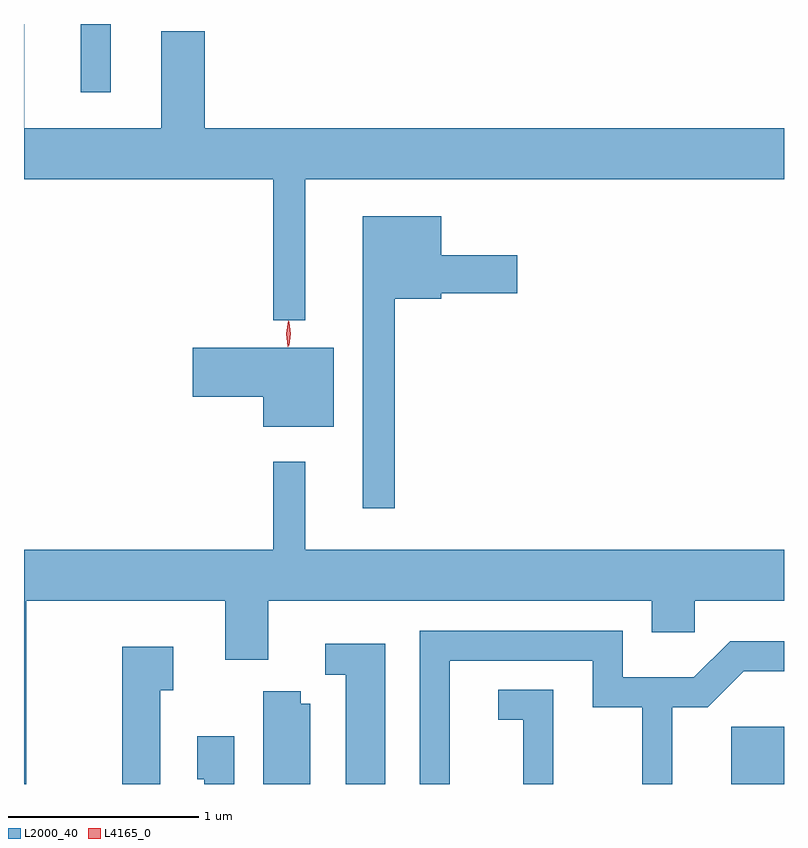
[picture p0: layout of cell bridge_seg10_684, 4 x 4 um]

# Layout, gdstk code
import gdstk
lib = gdstk.Library(unit=1e-6, precision=1e-09)
def R(c, l, rs):  # rectangles x0, y0, x1, y1
    for r in rs: c.add(gdstk.rectangle(r[:2], r[2:], *l))
def P(c, l, *ps):  # polygons
    for p in ps: c.add(gdstk.Polygon(p, *l))
L2000_40 = (2000, 40)
L4165_0 = (4165, 0)

bridge_seg10_684 = lib.new_cell('bridge_seg10_684')
R(bridge_seg10_684, L2000_40, [(1011.041,2124.052,1011.318,2124.354), (1007.616,2127.693,1007.774,2128.052)])
P(bridge_seg10_684, L2000_40, [(1008.799,2127.236),(1011.318,2127.236),(1011.318,2127.504),(1008.269,2127.504),(1008.269,2128.014),(1008.041,2128.014),(1008.041,2127.504),(1007.319,2127.504),(1007.319,2128.052),(1007.318,2128.052),(1007.318,2127.236),(1008.631,2127.236),(1008.631,2126.493),(1008.799,2126.493)],
  [(1009.269,2126.606),(1009.514,2126.606),(1009.514,2126.636),(1009.914,2126.636),(1009.914,2126.834),(1009.514,2126.834),(1009.514,2127.039),(1009.101,2127.039),(1009.101,2125.503),(1009.269,2125.503)],
  [(1008.949,2126.349),(1008.206,2126.349),(1008.206,2126.091),(1008.576,2126.091),(1008.576,2125.931),(1008.949,2125.931)],
  [(1007.329,2125.016),(1008.376,2125.016),(1008.376,2124.706),(1008.604,2124.706),(1008.604,2125.016),(1010.621,2125.016),(1010.621,2124.851),(1010.849,2124.851),(1010.849,2125.016),(1011.318,2125.016),(1011.318,2125.284),(1008.799,2125.284),(1008.799,2125.748),(1008.631,2125.748),(1008.631,2125.284),(1007.318,2125.284),(1007.318,2124.052),(1007.329,2124.052)],
  [(1009.559,2124.701),(1010.311,2124.701),(1010.311,2124.456),(1010.571,2124.456),(1010.571,2124.052),(1010.729,2124.052),(1010.729,2124.456),(1010.917,2124.456),(1011.107,2124.646),(1011.318,2124.646),(1011.318,2124.804),(1011.034,2124.804),(1010.844,2124.614),(1010.469,2124.614),(1010.469,2124.859),(1009.401,2124.859),(1009.401,2124.052),(1009.559,2124.052)],
  [(1009.219,2124.789),(1008.903,2124.789),(1008.903,2124.626),(1009.011,2124.626),(1009.011,2124.052),(1009.219,2124.052)],
  [(1008.034,2124.546),(1008.104,2124.546),(1008.104,2124.774),(1007.836,2124.774),(1007.836,2124.052),(1008.034,2124.052)],
  [(1010.104,2124.549),(1009.813,2124.549),(1009.813,2124.391),(1009.946,2124.391),(1009.946,2124.052),(1010.104,2124.052)],
  [(1008.824,2124.474),(1008.774,2124.474),(1008.774,2124.539),(1008.576,2124.539),(1008.576,2124.052),(1008.824,2124.052)],
  [(1008.424,2124.304),(1008.231,2124.304),(1008.231,2124.076),(1008.266,2124.076),(1008.266,2124.052),(1008.424,2124.052)])
P(bridge_seg10_684, L4165_0, [(1008.712,2126.36),(1008.712,2126.36),(1008.702,2126.423),(1008.712,2126.486),(1008.712,2126.487),(1008.713,2126.486),(1008.722,2126.423),(1008.713,2126.36)],
  [(1008.707,2126.354),(1008.698,2126.422),(1008.709,2126.49),(1008.709,2126.49),(1008.71,2126.49),(1008.718,2126.422),(1008.708,2126.354),(1008.708,2126.354)])

lib.write_gds('bridge_seg10_684.gds')
